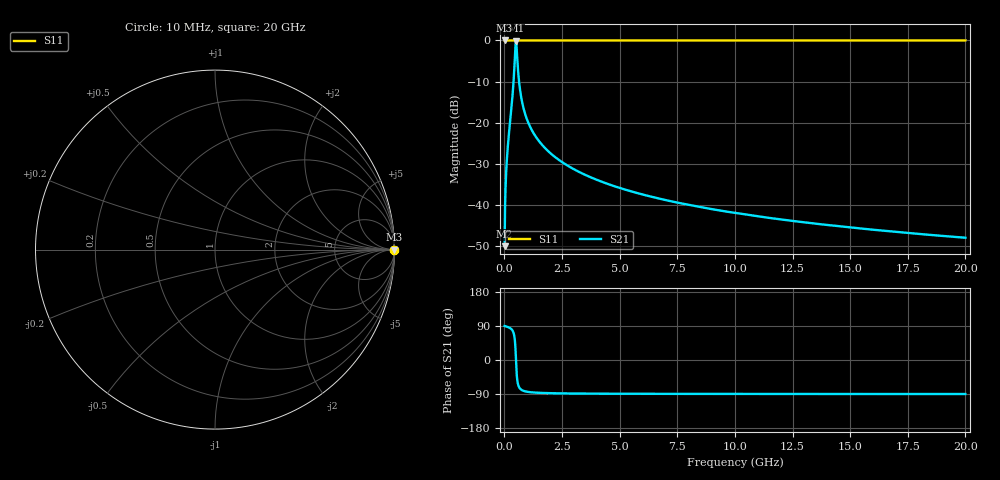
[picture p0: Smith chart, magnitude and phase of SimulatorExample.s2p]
# MHz MA S R 50.0
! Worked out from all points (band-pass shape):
!   2000 points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, 10 MHz to 20 GHz, reference 50 ohm
!   highest |S21| = -0.03 dB at 500 MHz (marker M1); lowest = -50.1 dB at 10 MHz (marker M2)
!   |S21| within 3 dB of the highest: 464.9 MHz to 544.9 MHz (79.93 MHz wide, 15.8 % of centre)
!   lowest |S11| = 0.0 dB at 10 MHz (marker M3)
!   |S11| at or under -10 dB: nowhere
!   S12 and S22 are empty: the file has one direction only
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10  1 0.0  0.003143 89.8  0 0.0  0 0.0
120  1 0.0  0.03994 87.7  0 0.0  0 0.0
150  1 0.0  0.05165 87.0  0 0.0  0 0.0
320  1 -0.0  0.1664 80.4  0 0.0  0 0.0
360  1 0.0  0.2256 77.0  0 0.0  0 0.0
390  1 0.0  0.2932 73.0  0 0.0  0 0.0
440  1 0.0  0.5059 59.6  0 0.0  0 0.0
500  1 -0.0  0.9966 4.7  0 0.0  0 0.0
570  1 0.0  0.5352 -57.6  0 0.0  0 0.0
620  1 0.0  0.3522 -69.4  0 0.0  0 0.0
650  1 0.0  0.2924 -73.0  0 0.0  0 0.0
690  1 -0.0  0.2393 -76.2  0 0.0  0 0.0
830  1 -0.0  0.1499 -81.4  0 0.0  0 0.0
1010  1 -0.0  0.1042 -84.0  0 0.0  0 0.0
1240  1 0.0  0.07661 -85.6  0 0.0  0 0.0
2060  1 0.0  0.04105 -87.6  0 0.0  0 0.0
3350  1 -0.0  0.0243 -88.6  0 0.0  0 0.0
6680  1 0.0  0.01198 -89.3  0 0.0  0 0.0
10010  1 0.0  0.00797 -89.5  0 0.0  0 0.0
13340  1 -0.0  0.005974 -89.7  0 0.0  0 0.0
16670  1 -0.0  0.004778 -89.7  0 0.0  0 0.0
20000  1 0.0  0.003981 -89.8  0 0.0  0 0.0
